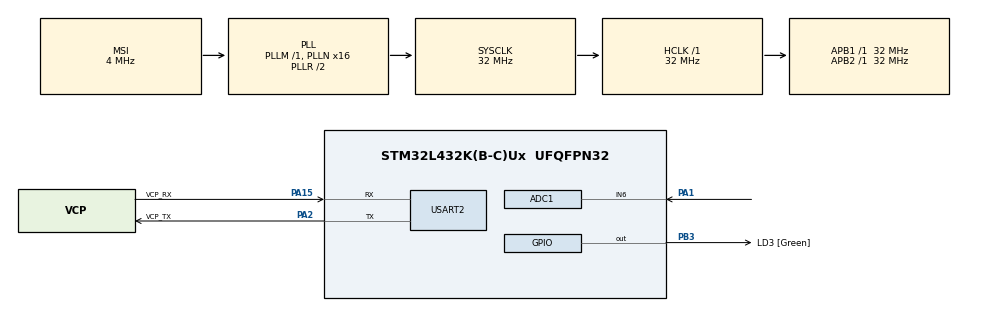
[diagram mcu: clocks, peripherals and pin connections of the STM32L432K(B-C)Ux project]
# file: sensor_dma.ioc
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ADC1.Channel-0\#ChannelRegularConversion=ADC_CHANNEL_6
ADC1.ContinuousConvMode=ENABLE
ADC1.DMAContinuousRequests=ENABLE
ADC1.NbrOfConversionFlag=1
ADC1.OffsetNumber-0\#ChannelRegularConversion=ADC_OFFSET_NONE
ADC1.Rank-0\#ChannelRegularConversion=1
ADC1.SamplingTime-0\#ChannelRegularConversion=ADC_SAMPLETIME_2CYCLES_5
ADC1.master=1
Dma.ADC1.0.Direction=DMA_PERIPH_TO_MEMORY
Dma.ADC1.0.Instance=DMA1_Channel1
Dma.ADC1.0.MemDataAlignment=DMA_MDATAALIGN_HALFWORD
Dma.ADC1.0.MemInc=DMA_MINC_ENABLE
Dma.ADC1.0.Mode=DMA_CIRCULAR
Dma.ADC1.0.PeriphDataAlignment=DMA_PDATAALIGN_HALFWORD
Dma.ADC1.0.PeriphInc=DMA_PINC_DISABLE
Dma.ADC1.0.Priority=DMA_PRIORITY_LOW
Dma.Request0=ADC1
Mcu.Family=STM32L4
Mcu.Name=STM32L432K(B-C)Ux
Mcu.Package=UFQFPN32
NVIC.DMA1_Channel1_IRQn=true\:0\:0\:false\:false\:true\:false\:true\:true
NVIC.PriorityGroup=NVIC_PRIORITYGROUP_4
PA0.GPIO_Label=MCO [High speed clock in]
PA0.Mode=HSE-External-Clock-Source-for-LittleOrca
PA0.Signal=RCC_CK_IN
PA1.Signal=ADCx_IN6
PA13\ (JTMS-SWDIO).GPIO_Label=SWDIO
PA13\ (JTMS-SWDIO).Mode=Serial_Wire
PA13\ (JTMS-SWDIO).Signal=SYS_JTMS-SWDIO
PA14\ (JTCK-SWCLK).GPIO_Label=SWCLK
PA14\ (JTCK-SWCLK).Mode=Serial_Wire
PA14\ (JTCK-SWCLK).Signal=SYS_JTCK-SWCLK
PA15\ (JTDI).GPIO_Label=VCP_RX
PA15\ (JTDI).Mode=Asynchronous
PA15\ (JTDI).Signal=USART2_RX
PA2.GPIO_Label=VCP_TX
PA2.Mode=Asynchronous
PA2.Signal=USART2_TX
PB3\ (JTDO-TRACESWO).GPIO_Label=LD3 [Green]
PB3\ (JTDO-TRACESWO).Signal=GPIO_Output
PC14-OSC32_IN\ (PC14).Mode=LSE-External-Oscillator
PC14-OSC32_IN\ (PC14).Signal=RCC_OSC32_IN
PC15-OSC32_OUT\ (PC15).Mode=LSE-External-Oscillator
PC15-OSC32_OUT\ (PC15).Signal=RCC_OSC32_OUT
ProjectManager.HeapSize=0x200
ProjectManager.StackSize=0x400
ProjectManager.TargetToolchain=STM32CubeIDE
RCC.ADCFreq_Value=32000000
RCC.AHBFreq_Value=32000000
RCC.APB1Freq_Value=32000000
RCC.APB1TimFreq_Value=32000000
RCC.APB2Freq_Value=32000000
RCC.APB2TimFreq_Value=32000000
RCC.CortexFreq_Value=32000000
RCC.HCLKFreq_Value=32000000
RCC.HSE_VALUE=8000000
RCC.HSI16_VALUE=16000000
RCC.HSI48_VALUE=48000000
RCC.HSI_VALUE=16000000
RCC.MSI_VALUE=4000000
RCC.PLLMUL=RCC_PLLMUL_4
RCC.PLLN=16
RCC.PLLSAI1N=16
RCC.SYSCLKFreq_VALUE=32000000
RCC.SYSCLKSource=RCC_SYSCLKSOURCE_PLLCLK
RCC.USBFreq_Value=32000000
RCC.VCOOutputFreq_Value=64000000
SH.ADCx_IN6.0=ADC1_IN6,IN6-Single-Ended
USART2.VirtualMode-Asynchronous=VM_ASYNC
board=NUCLEO-L432KC

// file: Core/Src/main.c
/* USER CODE BEGIN Header */
/**
  ******************************************************************************
  * @file           : main.c
  * @brief          : Main program body
  ******************************************************************************
  * @attention
  *
  * Copyright (c) 2025 STMicroelectronics.
  * All rights reserved.
  *
  * This software is licensed under terms that can be found in the LICENSE file
  * in the root directory of this software component.
  * If no LICENSE file comes with this software, it is provided AS-IS.
  *
  ******************************************************************************
  */
/* USER CODE END Header */
#include "main.h"

/* USER CODE BEGIN Includes */

#include "string.h"
#include "stdio.h"
#include "stdlib.h"

/* USER CODE END Includes */

/* USER CODE BEGIN PD */

#define ADC_BUF_LEN 4096
#define UART_TX_BUF_SIZE 64  // Buffer size for UART transmission
/* USER CODE END PD */

ADC_HandleTypeDef hadc1;
DMA_HandleTypeDef hdma_adc1;

UART_HandleTypeDef huart2;

/* USER CODE BEGIN PV */
uint16_t adc_buf[ADC_BUF_LEN];
uint32_t adc_index = 0;  // To keep track of the current position in ADC buffer
char uart_tx_buf[UART_TX_BUF_SIZE];  // Buffer for UART transmission/* USER CODE END PV */

void SystemClock_Config(void);
static void MX_GPIO_Init(void);
static void MX_DMA_Init(void);
static void MX_USART2_UART_Init(void);
static void MX_ADC1_Init(void);
/* USER CODE BEGIN PFP */
void TransmitADCDataToUART(uint32_t start_index, uint32_t count);

/* USER CODE END PFP */

int main(void)
{

  /* MCU Configuration--------------------------------------------------------*/

  /* Reset of all peripherals, Initializes the Flash interface and the Systick. */
  HAL_Init();

  /* Configure the system clock */
  SystemClock_Config();

  /* Initialize all configured peripherals */
  MX_GPIO_Init();
  MX_DMA_Init();
  MX_USART2_UART_Init();
  MX_ADC1_Init();
  /* USER CODE BEGIN 2 */
  HAL_ADC_Start_DMA(&hadc1, (uint32_t*)adc_buf, ADC_BUF_LEN);
  /* USER CODE END 2 */

  /* Infinite loop */
  /* USER CODE BEGIN WHILE */
  while (1)
  {

//	  HAL_ADC_Start(&hadc1);
//	  HAL_ADC_PollForConversion(&hadc1, HAL_MAX_DELAY);
//	  raw = HAL_ADC_GetValue(&hadc1);
//
//	  sprintf(msg, "%hu\r\n", raw);
//	  HAL_UART_Transmit(&huart2, (uint8_t*)msg, strlen(msg), HAL_MAX_DELAY);
//
//	  HAL_Delay(1);
    /* USER CODE END WHILE */

  }
}

void SystemClock_Config(void)
{
  RCC_OscInitTypeDef RCC_OscInitStruct = {0};
  RCC_ClkInitTypeDef RCC_ClkInitStruct = {0};

  /** Configure the main internal regulator output voltage
  */
  if (HAL_PWREx_ControlVoltageScaling(PWR_REGULATOR_VOLTAGE_SCALE1) != HAL_OK)
  {
    Error_Handler();
  }

  /** Configure LSE Drive Capability
  */
  HAL_PWR_EnableBkUpAccess();
  __HAL_RCC_LSEDRIVE_CONFIG(RCC_LSEDRIVE_LOW);

  /** Initializes the RCC Oscillators according to the specified parameters
  * in the RCC_OscInitTypeDef structure.
  */
  RCC_OscInitStruct.OscillatorType = RCC_OSCILLATORTYPE_LSE|RCC_OSCILLATORTYPE_MSI;
  RCC_OscInitStruct.LSEState = RCC_LSE_ON;
  RCC_OscInitStruct.MSIState = RCC_MSI_ON;
  RCC_OscInitStruct.MSICalibrationValue = 0;
  RCC_OscInitStruct.MSIClockRange = RCC_MSIRANGE_6;
  RCC_OscInitStruct.PLL.PLLState = RCC_PLL_ON;
  RCC_OscInitStruct.PLL.PLLSource = RCC_PLLSOURCE_MSI;
  RCC_OscInitStruct.PLL.PLLM = 1;
  RCC_OscInitStruct.PLL.PLLN = 16;
  RCC_OscInitStruct.PLL.PLLP = RCC_PLLP_DIV7;
  RCC_OscInitStruct.PLL.PLLQ = RCC_PLLQ_DIV2;
  RCC_OscInitStruct.PLL.PLLR = RCC_PLLR_DIV2;
  if (HAL_RCC_OscConfig(&RCC_OscInitStruct) != HAL_OK)
  {
    Error_Handler();
  }

  /** Initializes the CPU, AHB and APB buses clocks
  */
  RCC_ClkInitStruct.ClockType = RCC_CLOCKTYPE_HCLK|RCC_CLOCKTYPE_SYSCLK
                              |RCC_CLOCKTYPE_PCLK1|RCC_CLOCKTYPE_PCLK2;
  RCC_ClkInitStruct.SYSCLKSource = RCC_SYSCLKSOURCE_PLLCLK;
  RCC_ClkInitStruct.AHBCLKDivider = RCC_SYSCLK_DIV1;
  RCC_ClkInitStruct.APB1CLKDivider = RCC_HCLK_DIV1;
  RCC_ClkInitStruct.APB2CLKDivider = RCC_HCLK_DIV1;

  if (HAL_RCC_ClockConfig(&RCC_ClkInitStruct, FLASH_LATENCY_1) != HAL_OK)
  {
    Error_Handler();
  }

  /** Enable MSI Auto calibration
  */
  HAL_RCCEx_EnableMSIPLLMode();
}

static void MX_ADC1_Init(void)
{

  ADC_ChannelConfTypeDef sConfig = {0};

  /** Common config
  */
  hadc1.Instance = ADC1;
  hadc1.Init.ClockPrescaler = ADC_CLOCK_ASYNC_DIV1;
  hadc1.Init.Resolution = ADC_RESOLUTION_12B;
  hadc1.Init.DataAlign = ADC_DATAALIGN_RIGHT;
  hadc1.Init.ScanConvMode = ADC_SCAN_DISABLE;
  hadc1.Init.EOCSelection = ADC_EOC_SINGLE_CONV;
  hadc1.Init.LowPowerAutoWait = DISABLE;
  hadc1.Init.ContinuousConvMode = ENABLE;
  hadc1.Init.NbrOfConversion = 1;
  hadc1.Init.DiscontinuousConvMode = DISABLE;
  hadc1.Init.ExternalTrigConv = ADC_SOFTWARE_START;
  hadc1.Init.ExternalTrigConvEdge = ADC_EXTERNALTRIGCONVEDGE_NONE;
  hadc1.Init.DMAContinuousRequests = ENABLE;
  hadc1.Init.Overrun = ADC_OVR_DATA_PRESERVED;
  hadc1.Init.OversamplingMode = DISABLE;
  if (HAL_ADC_Init(&hadc1) != HAL_OK)
  {
    Error_Handler();
  }

  /** Configure Regular Channel
  */
  sConfig.Channel = ADC_CHANNEL_6;
  sConfig.Rank = ADC_REGULAR_RANK_1;
  sConfig.SamplingTime = ADC_SAMPLETIME_2CYCLES_5;
  sConfig.SingleDiff = ADC_SINGLE_ENDED;
  sConfig.OffsetNumber = ADC_OFFSET_NONE;
  sConfig.Offset = 0;
  if (HAL_ADC_ConfigChannel(&hadc1, &sConfig) != HAL_OK)
  {
    Error_Handler();
  }

}

static void MX_USART2_UART_Init(void)
{

  huart2.Instance = USART2;
  huart2.Init.BaudRate = 115200;
  huart2.Init.WordLength = UART_WORDLENGTH_8B;
  huart2.Init.StopBits = UART_STOPBITS_1;
  huart2.Init.Parity = UART_PARITY_NONE;
  huart2.Init.Mode = UART_MODE_TX_RX;
  huart2.Init.HwFlowCtl = UART_HWCONTROL_NONE;
  huart2.Init.OverSampling = UART_OVERSAMPLING_16;
  huart2.Init.OneBitSampling = UART_ONE_BIT_SAMPLE_DISABLE;
  huart2.AdvancedInit.AdvFeatureInit = UART_ADVFEATURE_NO_INIT;
  if (HAL_UART_Init(&huart2) != HAL_OK)
  {
    Error_Handler();
  }

}

static void MX_DMA_Init(void)
{

  /* DMA controller clock enable */
  __HAL_RCC_DMA1_CLK_ENABLE();

  /* DMA interrupt init */
  /* DMA1_Channel1_IRQn interrupt configuration */
  HAL_NVIC_SetPriority(DMA1_Channel1_IRQn, 0, 0);
  HAL_NVIC_EnableIRQ(DMA1_Channel1_IRQn);

}

static void MX_GPIO_Init(void)
{
  GPIO_InitTypeDef GPIO_InitStruct = {0};

  /* GPIO Ports Clock Enable */
  __HAL_RCC_GPIOC_CLK_ENABLE();
  __HAL_RCC_GPIOA_CLK_ENABLE();
  __HAL_RCC_GPIOB_CLK_ENABLE();

  /*Configure GPIO pin Output Level */
  HAL_GPIO_WritePin(LD3_GPIO_Port, LD3_Pin, GPIO_PIN_RESET);

  /*Configure GPIO pin : LD3_Pin */
  GPIO_InitStruct.Pin = LD3_Pin;
  GPIO_InitStruct.Mode = GPIO_MODE_OUTPUT_PP;
  GPIO_InitStruct.Pull = GPIO_NOPULL;
  GPIO_InitStruct.Speed = GPIO_SPEED_FREQ_LOW;
  HAL_GPIO_Init(LD3_GPIO_Port, &GPIO_InitStruct);

}

/* USER CODE BEGIN 4 */

void HAL_ADC_ConvHalfCpltCallback(ADC_HandleTypeDef* hadc) {
    // First half of buffer is filled, process the second half
    TransmitADCDataToUART(ADC_BUF_LEN/2, ADC_BUF_LEN/2);
}
void HAL_ADC_ConvCpltCallback(ADC_HandleTypeDef* hadc) {
    // Entire buffer is filled, process the first half
    TransmitADCDataToUART(0, ADC_BUF_LEN/2);
}

void TransmitADCDataToUART(uint32_t start_index, uint32_t count) {
    uint32_t i;
    for (i = start_index; i < start_index + count; i++) {
        // Convert ADC value to string
        int len = snprintf(uart_tx_buf, UART_TX_BUF_SIZE, "%hu\r\n", adc_buf[i]);

        // Transmit via UART
        HAL_UART_Transmit(&huart2, (uint8_t*)uart_tx_buf, len, HAL_MAX_DELAY);

    }
}

/* USER CODE END 4 */

void Error_Handler(void)
{
  __disable_irq();
  while (1)
  {
  }
}
